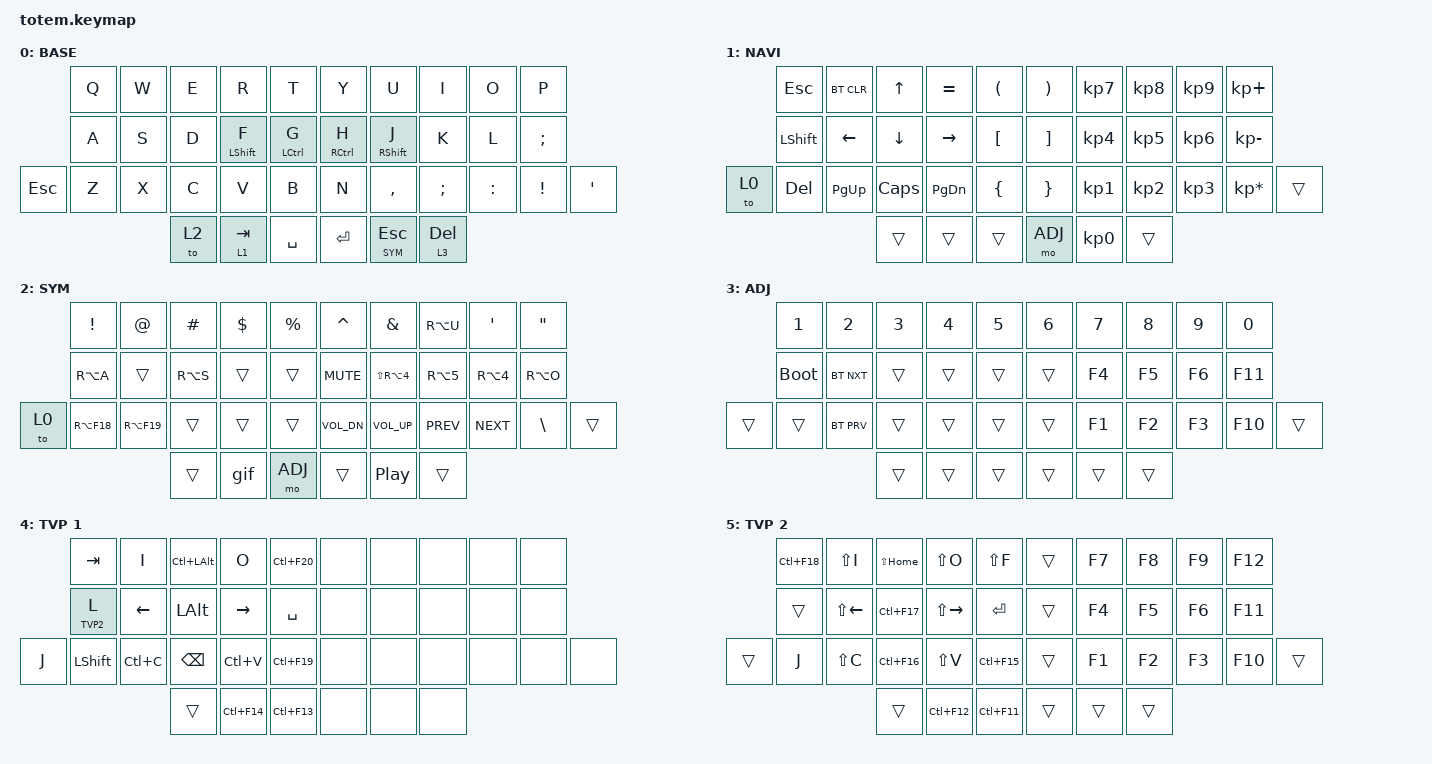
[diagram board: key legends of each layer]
//
//                                                        ▀▀▀▀▀     ▀▀▀▀▀          ▀▀█▀▀
//                                                        ▄▀▀▀▄  ▄  ▄▀▀▀▄  ▄  ▄▀▀▀▄  █  ▄▀▀▀▄
//                                                        █   █  █  █   █  █  █   █  █  █   █
//                                                         ▀▀▀   █   ▀▀▀   █   ▀▀▀   ▀   ▀▀▀
//                                                               █      ▄▄▄█▄▄▄    █   █  
//                                                               ▀      █  █  █     █▄█
//                                                             ▀▀▀▀▀    █  █  █      ▀
//                                                                      ▀  ▀  ▀
//
// ▄▄▄▄▄▄▄▄▄▄▄▄▄▄▄▄▄▄▄▄▄▄▄▄▄▄▄▄▄▄▄▄▄▄▄▄▄▄▄▄▄▄▄▄▄▄▄▄▄▄▄▄▄▄▄▄▄▄▄▄▄▄▄▄▄▄▄▄▄▄▄▄▄▄▄▄▄▄▄▄▄▄▄▄▄▄▄▄▄▄▄▄▄▄▄▄▄▄▄▄▄▄▄▄▄▄▄▄▄▄▄▄▄▄▄▄▄▄▄▄▄▄▄▄▄▄▄▄▄▄▄▄▄▄▄▄▄▄▄▄▄▄▄▄▄▄▄▄▄

#include <behaviors.dtsi>
#include <dt-bindings/zmk/bt.h>
#include <dt-bindings/zmk/keys.h>

#define BASE 0
#define NAV  1
#define SYM  2
#define ADJ  3
#define TVP1 4
#define TVP2 5

&mt {
    quick-tap-ms = <100>;
    global-quick-tap;
    flavor = "tap-preferred";
    tapping-term-ms = <200>;
};

/ {
    combos {
        compatible = "zmk,combos";

        combo_tvp {
            timeout-ms = <100>;
            key-positions = <11 12 13>;
            bindings = <&tog TVP1>;
        };

        Backspace {
            bindings = <&kp BACKSPACE>;
            key-positions = <16 17>;
            layers = <0 2 1 3 4 5>;
        };

        TabCombo {
            bindings = <&kp TAB>;
            key-positions = <10 11>;
        };

        BTClearAll {
            bindings = <&bt BT_CLR_ALL>;
            key-positions = <32 33 34>;
        };

        Copy {
            bindings = <&kp LC(C)>;
            key-positions = <22 23>;
        };

        Paste {
            bindings = <&kp LC(V)>;
            key-positions = <22 24>;
        };
    };

    macros {
        gif: gif {
            label = "giphy";
            compatible = "zmk,behavior-macro";
            #binding-cells = <0>;
            bindings =
                <&macro_press>,
                <&kp LSHFT>,
                <&macro_tap>,
                <&kp N2>,
                <&macro_release>,
                <&kp LSHFT>,
                <&macro_tap>,
                <&kp G &kp I &kp F>;
        };
    };

    keymap {
        compatible = "zmk,keymap";

        // ▄▄▄▄▄▄▄▄▄▄▄▄▄▄▄▄▄▄▄▄▄▄▄▄▄▄▄▄▄▄▄▄▄▄▄▄▄▄▄▄▄▄▄▄▄▄▄▄▄▄▄▄▄▄▄▄▄▄▄▄▄▄▄▄▄▄▄▄▄▄▄▄▄▄▄▄▄▄▄▄▄▄▄▄▄▄▄▄▄▄▄▄▄▄▄▄▄▄▄▄▄▄▄▄▄▄▄▄▄▄▄▄▄▄▄▄▄▄▄▄▄▄▄▄▄▄▄▄▄▄▄▄▄▄▄▄▄▄▄▄▄▄▄▄▄▄▄▄▄

        base_layer {
            // ┏━━━━━━━━━━━━━━━━━━━━━━━━━━━━━━━━━━━━━━━┓

            label = "BASE";

            // ┗━━━━━━━━━━━━━━━━━━━━━━━━━━━━━━━━━━━━━━━┛
            //             ┏━━━━━━━━━━━┳━━━━━━━━━━━┳━━━━━━━━━━━┳━━━━━━━━━━━┳━━━━━━━━━━━┓   ┏━━━━━━━━━━━┳━━━━━━━━━━━┳━━━━━━━━━━━┳━━━━━━━━━━━┳━━━━━━━━━━━┓
            //             ┃     Q     ┃     W     ┃     F     ┃     P     ┃     G     ┃   ┃     J     ┃     L     ┃     U     ┃     Y     ┃     ;     ┃
            //             ┣━━━━━━━━━━━╋━━━━━━━━━━━╋━━━━━━━━━━━╋━━━━━━━━━━━╋━━━━━━━━━━━┫   ┣━━━━━━━━━━━╋━━━━━━━━━━━╋━━━━━━━━━━━╋━━━━━━━━━━━╋━━━━━━━━━━━┫
            //             ┃     A     ┃     R     ┃     S     ┃     T     ┃     D     ┃   ┃     H     ┃     N     ┃     E     ┃     I     ┃     O     ┃
            // ┏━━━━━━━━━━━╋━━━━━━━━━━━╋━━━━━━━━━━━╋━━━━━━━━━━━╋━━━━━━━━━━━╋━━━━━━━━━━━┫   ┣━━━━━━━━━━━╋━━━━━━━━━━━╋━━━━━━━━━━━╋━━━━━━━━━━━╋━━━━━━━━━━━╋━━━━━━━━━━━┓
            // ┃     Q     ┃     Z     ┃     X     ┃     C     ┃     V     ┃     B     ┃   ┃     K     ┃     M     ┃     ,     ┃     .     ┃     /     ┃     \     ┃
            // ┗━━━━━━━━━━━┻━━━━━━━━━━━┻━━━━━━━━━━━╋━━━━━━━━━━━╋━━━━━━━━━━━╋━━━━━━━━━━━┫   ┣━━━━━━━━━━━╋━━━━━━━━━━━╋━━━━━━━━━━━╋━━━━━━━━━━━┻━━━━━━━━━━━┻━━━━━━━━━━━┛
            //                                     ┃    DEL    ┃    TAB    ┃    SPC    ┃   ┃   ENTER   ┃           ┃   BSPC    ┃
            //                                     ┗━━━━━━━━━━━┻━━━━━━━━━━━┻━━━━━━━━━━━┛   ┗━━━━━━━━━━━┻━━━━━━━━━━━┻━━━━━━━━━━━┛

            bindings = <
         &kp Q  &kp W  &kp E  &kp R             &kp T                 &kp Y                &kp U         &kp I          &kp O      &kp P
         &kp A  &kp S  &kp D  &mt LEFT_SHIFT F  &mt LEFT_CONTROL G    &mt RIGHT_CONTROL H  &mt RSHIFT J  &kp K          &kp L      &kp SEMI
&kp ESC  &kp Z  &kp X  &kp C  &kp V             &kp B                 &kp N                &kp COMMA     &kp SEMICOLON  &kp COLON  &kp EXCLAMATION  &kp SQT
                       &to 2  &lt 1 TAB         &kp SPACE             &kp RET              &lt SYM ESC   &lt 3 DELETE
            >;
        };

        // ▄▄▄▄▄▄▄▄▄▄▄▄▄▄▄▄▄▄▄▄▄▄▄▄▄▄▄▄▄▄▄▄▄▄▄▄▄▄▄▄▄▄▄▄▄▄▄▄▄▄▄▄▄▄▄▄▄▄▄▄▄▄▄▄▄▄▄▄▄▄▄▄▄▄▄▄▄▄▄▄▄▄▄▄▄▄▄▄▄▄▄▄▄▄▄▄▄▄▄▄▄▄▄▄▄▄▄▄▄▄▄▄▄▄▄▄▄▄▄▄▄▄▄▄▄▄▄▄▄▄▄▄▄▄▄▄▄▄▄▄▄▄▄▄▄▄▄▄▄

        nav_layer {
            // ┏━━━━━━━━━━━━━━━━━━━━━━━━━━━━━━━━━━━━━━━┓

            label = "NAVI";

            // ┗━━━━━━━━━━━━━━━━━━━━━━━━━━━━━━━━━━━━━━━┛
            //             ┏━━━━━━━━━━━┳━━━━━━━━━━━┳━━━━━━━━━━━┳━━━━━━━━━━━┳━━━━━━━━━━━┓   ┏━━━━━━━━━━━┳━━━━━━━━━━━┳━━━━━━━━━━━┳━━━━━━━━━━━┳━━━━━━━━━━━┓
            //             ┃           ┃           ┃     UP    ┃           ┃     {     ┃   ┃     }     ┃     7     ┃     8     ┃     9     ┃     +     ┃
            //             ┣━━━━━━━━━━━╋━━━━━━━━━━━╋━━━━━━━━━━━╋━━━━━━━━━━━╋━━━━━━━━━━━┫   ┣━━━━━━━━━━━╋━━━━━━━━━━━╋━━━━━━━━━━━╋━━━━━━━━━━━╋━━━━━━━━━━━┫
            //             ┃   SHIFT   ┃   LEFT    ┃    DOWN   ┃   RIGHT   ┃     [     ┃   ┃     ]     ┃     4     ┃     5     ┃     6     ┃     -     ┃
            // ┏━━━━━━━━━━━╋━━━━━━━━━━━╋━━━━━━━━━━━╋━━━━━━━━━━━╋━━━━━━━━━━━╋━━━━━━━━━━━┫   ┣━━━━━━━━━━━╋━━━━━━━━━━━╋━━━━━━━━━━━╋━━━━━━━━━━━╋━━━━━━━━━━━╋━━━━━━━━━━━┓
            // ┃           ┃           ┃   P UP    ┃  C LOCK   ┃  P DOWN   ┃     (     ┃   ┃     )     ┃     1     ┃     2     ┃     3     ┃     *     ┃           ┃
            // ┗━━━━━━━━━━━┻━━━━━━━━━━━┻━━━━━━━━━━━╋━━━━━━━━━━━╋━━━━━━━━━━━╋━━━━━━━━━━━┫   ┣━━━━━━━━━━━╋━━━━━━━━━━━╋━━━━━━━━━━━╋━━━━━━━━━━━┻━━━━━━━━━━━┻━━━━━━━━━━━┛
            //                                     ┃           ┃    TAB    ┃    SPC    ┃   ┃    DEL    ┃     0     ┃           ┃
            //                                     ┗━━━━━━━━━━━┻━━━━━━━━━━━┻━━━━━━━━━━━┛   ┗━━━━━━━━━━━┻━━━━━━━━━━━┻━━━━━━━━━━━┛

            bindings = <
       &kp ESC    &bt BT_CLR  &kp UP    &kp EQUAL  &kp LEFT_PARENTHESIS    &kp RIGHT_PARENTHESIS  &kp KP_N7  &kp KP_N8  &kp KP_N9  &kp KP_PLUS
       &kp LSHFT  &kp LEFT    &kp DOWN  &kp RIGHT  &kp LBKT                &kp RBKT               &kp KP_N4  &kp KP_N5  &kp KP_N6  &kp KP_MINUS
&to 0  &kp DEL    &kp PG_UP   &kp CAPS  &kp PG_DN  &kp LEFT_BRACE          &kp RIGHT_BRACE        &kp KP_N1  &kp KP_N2  &kp KP_N3  &kp KP_MULTIPLY  &trans
                              &trans    &trans     &trans                  &mo ADJ                &kp KP_N0  &trans
            >;
        };

        // ▄▄▄▄▄▄▄▄▄▄▄▄▄▄▄▄▄▄▄▄▄▄▄▄▄▄▄▄▄▄▄▄▄▄▄▄▄▄▄▄▄▄▄▄▄▄▄▄▄▄▄▄▄▄▄▄▄▄▄▄▄▄▄▄▄▄▄▄▄▄▄▄▄▄▄▄▄▄▄▄▄▄▄▄▄▄▄▄▄▄▄▄▄▄▄▄▄▄▄▄▄▄▄▄▄▄▄▄▄▄▄▄▄▄▄▄▄▄▄▄▄▄▄▄▄▄▄▄▄▄▄▄▄▄▄▄▄▄▄▄▄▄▄▄▄▄▄▄▄

        sim_layer {
            // ┏━━━━━━━━━━━━━━━━━━━━━━━━━━━━━━━━━━━━━━━┓

            label = "SYM";

            // ┗━━━━━━━━━━━━━━━━━━━━━━━━━━━━━━━━━━━━━━━┛
            //             ┏━━━━━━━━━━━┳━━━━━━━━━━━┳━━━━━━━━━━━┳━━━━━━━━━━━┳━━━━━━━━━━━┓   ┏━━━━━━━━━━━┳━━━━━━━━━━━┳━━━━━━━━━━━┳━━━━━━━━━━━┳━━━━━━━━━━━┓
            //             ┃     !     ┃     @     ┃     #     ┃     $     ┃     %     ┃   ┃     ˆ     ┃     &     ┃     Ü     ┃     '     ┃     "     ┃
            //             ┣━━━━━━━━━━━╋━━━━━━━━━━━╋━━━━━━━━━━━╋━━━━━━━━━━━╋━━━━━━━━━━━┫   ┣━━━━━━━━━━━╋━━━━━━━━━━━╋━━━━━━━━━━━╋━━━━━━━━━━━╋━━━━━━━━━━━┫
            //             ┃     Ä     ┃           ┃    SZ     ┃           ┃           ┃   ┃   MUTE    ┃   YEN     ┃   EURO    ┃  POUND    ┃     Ö     ┃
            // ┏━━━━━━━━━━━╋━━━━━━━━━━━╋━━━━━━━━━━━╋━━━━━━━━━━━╋━━━━━━━━━━━╋━━━━━━━━━━━┫   ┣━━━━━━━━━━━╋━━━━━━━━━━━╋━━━━━━━━━━━╋━━━━━━━━━━━╋━━━━━━━━━━━╋━━━━━━━━━━━┓
            // ┃           ┃  EMAIL1   ┃  EMAIL2   ┃           ┃           ┃           ┃   ┃   VOL-    ┃   VOL+    ┃   LAST    ┃   NEXT    ┃     \     ┃           ┃
            // ┗━━━━━━━━━━━┻━━━━━━━━━━━┻━━━━━━━━━━━╋━━━━━━━━━━━╋━━━━━━━━━━━╋━━━━━━━━━━━┫   ┣━━━━━━━━━━━╋━━━━━━━━━━━╋━━━━━━━━━━━╋━━━━━━━━━━━┻━━━━━━━━━━━┻━━━━━━━━━━━┛
            //                                     ┃           ┃    GIF    ┃    ADJ    ┃   ┃           ┃           ┃           ┃
            //                                     ┗━━━━━━━━━━━┻━━━━━━━━━━━┻━━━━━━━━━━━┛   ┗━━━━━━━━━━━┻━━━━━━━━━━━┻━━━━━━━━━━━┛

            bindings = <
       &kp EXCL     &kp AT       &kp HASH   &kp DLLR  &kp PRCNT    &kp CARET     &kp AMPS        &kp RA(U)   &kp SQT     &kp DQT
       &kp RA(A)    &trans       &kp RA(S)  &trans    &trans       &kp C_MUTE    &kp LS(RA(N4))  &kp RA(N5)  &kp RA(N4)  &kp RA(O)
&to 0  &kp RA(F18)  &kp RA(F19)  &trans     &trans    &trans       &kp C_VOL_DN  &kp C_VOL_UP    &kp C_PREV  &kp C_NEXT  &kp BSLH   &trans
                                 &trans     &gif      &mo ADJ      &trans        &kp C_PP        &trans
            >;
        };

        // ▄▄▄▄▄▄▄▄▄▄▄▄▄▄▄▄▄▄▄▄▄▄▄▄▄▄▄▄▄▄▄▄▄▄▄▄▄▄▄▄▄▄▄▄▄▄▄▄▄▄▄▄▄▄▄▄▄▄▄▄▄▄▄▄▄▄▄▄▄▄▄▄▄▄▄▄▄▄▄▄▄▄▄▄▄▄▄▄▄▄▄▄▄▄▄▄▄▄▄▄▄▄▄▄▄▄▄▄▄▄▄▄▄▄▄▄▄▄▄▄▄▄▄▄▄▄▄▄▄▄▄▄▄▄▄▄▄▄▄▄▄▄▄▄▄▄▄▄▄

        adjust_layer {
            // ┏━━━━━━━━━━━━━━━━━━━━━━━━━━━━━━━━━━━━━━━┓

            label = "ADJ";

            // ┗━━━━━━━━━━━━━━━━━━━━━━━━━━━━━━━━━━━━━━━┛
            //             ┏━━━━━━━━━━━┳━━━━━━━━━━━┳━━━━━━━━━━━┳━━━━━━━━━━━┳━━━━━━━━━━━┓   ┏━━━━━━━━━━━┳━━━━━━━━━━━┳━━━━━━━━━━━┳━━━━━━━━━━━┳━━━━━━━━━━━┓
            //             ┃   RESET   ┃ BT CLEAR  ┃  OUT TOG  ┃           ┃           ┃   ┃           ┃    F7     ┃    F8     ┃    F9     ┃    F12    ┃
            //             ┣━━━━━━━━━━━╋━━━━━━━━━━━╋━━━━━━━━━━━╋━━━━━━━━━━━╋━━━━━━━━━━━┫   ┣━━━━━━━━━━━╋━━━━━━━━━━━╋━━━━━━━━━━━╋━━━━━━━━━━━╋━━━━━━━━━━━┫
            //             ┃ BOOTLOAD  ┃ BT NEXT   ┃           ┃           ┃           ┃   ┃           ┃    F4     ┃    F5     ┃    F6     ┃    F11    ┃
            // ┏━━━━━━━━━━━╋━━━━━━━━━━━╋━━━━━━━━━━━╋━━━━━━━━━━━╋━━━━━━━━━━━╋━━━━━━━━━━━┫   ┣━━━━━━━━━━━╋━━━━━━━━━━━╋━━━━━━━━━━━╋━━━━━━━━━━━╋━━━━━━━━━━━╋━━━━━━━━━━━┓
            // ┃           ┃           ┃ BT PREV   ┃           ┃           ┃           ┃   ┃           ┃    F1     ┃    F2     ┃    F3     ┃    F10    ┃           ┃
            // ┗━━━━━━━━━━━┻━━━━━━━━━━━┻━━━━━━━━━━━╋━━━━━━━━━━━╋━━━━━━━━━━━╋━━━━━━━━━━━┫   ┣━━━━━━━━━━━╋━━━━━━━━━━━╋━━━━━━━━━━━╋━━━━━━━━━━━┻━━━━━━━━━━━┻━━━━━━━━━━━┛
            //                                     ┃           ┃           ┃           ┃   ┃           ┃           ┃           ┃
            //                                     ┗━━━━━━━━━━━┻━━━━━━━━━━━┻━━━━━━━━━━━┛   ┗━━━━━━━━━━━┻━━━━━━━━━━━┻━━━━━━━━━━━┛

            bindings = <
        &kp NUMBER_1  &kp NUMBER_2  &kp NUMBER_3  &kp NUMBER_4  &kp N5    &kp NUMBER_6  &kp N7  &kp N8  &kp N9  &kp N0
        &bootloader   &bt BT_NXT    &trans        &trans        &trans    &trans        &kp F4  &kp F5  &kp F6  &kp F11
&trans  &trans        &bt BT_PRV    &trans        &trans        &trans    &trans        &kp F1  &kp F2  &kp F3  &kp F10  &trans
                                    &trans        &trans        &trans    &trans        &trans  &trans
            >;
        };

        // ▄▄▄▄▄▄▄▄▄▄▄▄▄▄▄▄▄▄▄▄▄▄▄▄▄▄▄▄▄▄▄▄▄▄▄▄▄▄▄▄▄▄▄▄▄▄▄▄▄▄▄▄▄▄▄▄▄▄▄▄▄▄▄▄▄▄▄▄▄▄▄▄▄▄▄▄▄▄▄▄▄▄▄▄▄▄▄▄▄▄▄▄▄▄▄▄▄▄▄▄▄▄▄▄▄▄▄▄▄▄▄▄▄▄▄▄▄▄▄▄▄▄▄▄▄▄▄▄▄▄▄▄▄▄▄▄▄▄▄▄▄▄▄▄▄▄▄▄▄

        tvp1_layer {
            // ┏━━━━━━━━━━━━━━━━━━━━━━━━━━━━━━━━━━━━━━━┓

            label = "TVP 1";

            // ┗━━━━━━━━━━━━━━━━━━━━━━━━━━━━━━━━━━━━━━━┛
            //             ┏━━━━━━━━━━━┳━━━━━━━━━━━┳━━━━━━━━━━━┳━━━━━━━━━━━┳━━━━━━━━━━━┓   ┏━━━━━━━━━━━┳━━━━━━━━━━━┳━━━━━━━━━━━┳━━━━━━━━━━━┳━━━━━━━━━━━┓
            //             ┃ NEXT FILE ┃ MARK IN   ┃ ROTATE    ┃ MARK OUT  ┃ SHOW SNAP ┃   ┃           ┃           ┃           ┃           ┃           ┃
            //             ┣━━━━━━━━━━━╋━━━━━━━━━━━╋━━━━━━━━━━━╋━━━━━━━━━━━╋━━━━━━━━━━━┫   ┣━━━━━━━━━━━╋━━━━━━━━━━━╋━━━━━━━━━━━╋━━━━━━━━━━━╋━━━━━━━━━━━┫
            //             ┃ TVP II    ┃ LEFT      ┃ PAN       ┃ RIGHT     ┃ PLAY/FLIP ┃   ┃           ┃           ┃           ┃           ┃           ┃
            // ┏━━━━━━━━━━━╋━━━━━━━━━━━╋━━━━━━━━━━━╋━━━━━━━━━━━╋━━━━━━━━━━━╋━━━━━━━━━━━┫   ┣━━━━━━━━━━━╋━━━━━━━━━━━╋━━━━━━━━━━━╋━━━━━━━━━━━╋━━━━━━━━━━━╋━━━━━━━━━━━┓
            // ┃ FULLSCR   ┃ SHIFT     ┃ COPY      ┃ DELETE    ┃ PASTE     ┃ IMG MARK  ┃   ┃           ┃           ┃           ┃           ┃           ┃           ┃
            // ┗━━━━━━━━━━━┻━━━━━━━━━━━┻━━━━━━━━━━━╋━━━━━━━━━━━╋━━━━━━━━━━━╋━━━━━━━━━━━┫   ┣━━━━━━━━━━━╋━━━━━━━━━━━╋━━━━━━━━━━━╋━━━━━━━━━━━┻━━━━━━━━━━━┻━━━━━━━━━━━┛
            //                                     ┃           ┃ UNDO/SAVE ┃  SEL/MOV  ┃   ┃           ┃           ┃           ┃
            //                                     ┗━━━━━━━━━━━┻━━━━━━━━━━━┻━━━━━━━━━━━┛   ┗━━━━━━━━━━━┻━━━━━━━━━━━┻━━━━━━━━━━━┛

            bindings = <
       &kp TAB     &kp I      &kp LC(LALT)  &kp O        &kp LC(F20)    &none  &none  &none  &none  &none
       &lt TVP2 L  &kp LEFT   &kp LALT      &kp RIGHT    &kp SPACE      &none  &none  &none  &none  &none
&kp J  &kp LSHFT   &kp LC(C)  &kp BSPC      &kp LC(V)    &kp LC(F19)    &none  &none  &none  &none  &none  &none
                              &trans        &kp LC(F14)  &kp LC(F13)    &none  &none  &none
            >;
        };

        // ▄▄▄▄▄▄▄▄▄▄▄▄▄▄▄▄▄▄▄▄▄▄▄▄▄▄▄▄▄▄▄▄▄▄▄▄▄▄▄▄▄▄▄▄▄▄▄▄▄▄▄▄▄▄▄▄▄▄▄▄▄▄▄▄▄▄▄▄▄▄▄▄▄▄▄▄▄▄▄▄▄▄▄▄▄▄▄▄▄▄▄▄▄▄▄▄▄▄▄▄▄▄▄▄▄▄▄▄▄▄▄▄▄▄▄▄▄▄▄▄▄▄▄▄▄▄▄▄▄▄▄▄▄▄▄▄▄▄▄▄▄▄▄▄▄▄▄▄▄

        tvp2_layer {
            // ┏━━━━━━━━━━━━━━━━━━━━━━━━━━━━━━━━━━━━━━━┓

            label = "TVP 2";

            // ┗━━━━━━━━━━━━━━━━━━━━━━━━━━━━━━━━━━━━━━━┛
            //             ┏━━━━━━━━━━━┳━━━━━━━━━━━┳━━━━━━━━━━━┳━━━━━━━━━━━┳━━━━━━━━━━━┓   ┏━━━━━━━━━━━┳━━━━━━━━━━━┳━━━━━━━━━━━┳━━━━━━━━━━━┳━━━━━━━━━━━┓
            //             ┃ SOLO      ┃ TOGGLE IN ┃ RESET ROT ┃ TOGGLE OUT┃ TAKE SNAP ┃   ┃           ┃           ┃           ┃           ┃           ┃
            //             ┣━━━━━━━━━━━╋━━━━━━━━━━━╋━━━━━━━━━━━╋━━━━━━━━━━━╋━━━━━━━━━━━┫   ┣━━━━━━━━━━━╋━━━━━━━━━━━╋━━━━━━━━━━━╋━━━━━━━━━━━╋━━━━━━━━━━━┫
            //             ┃ ---       ┃ LAST KEY  ┃ NEW KEY   ┃ NEXT KEY  ┃ ENTER     ┃   ┃           ┃           ┃           ┃           ┃           ┃
            // ┏━━━━━━━━━━━╋━━━━━━━━━━━╋━━━━━━━━━━━╋━━━━━━━━━━━╋━━━━━━━━━━━╋━━━━━━━━━━━┫   ┣━━━━━━━━━━━╋━━━━━━━━━━━╋━━━━━━━━━━━╋━━━━━━━━━━━╋━━━━━━━━━━━╋━━━━━━━━━━━┓
            // ┃           ┃ FULLSCR   ┃ CPY2BRUSH ┃ DEL HEAD  ┃ PSTinPLACE┃ BOOK MARK ┃   ┃           ┃           ┃           ┃           ┃           ┃           ┃
            // ┗━━━━━━━━━━━┻━━━━━━━━━━━┻━━━━━━━━━━━╋━━━━━━━━━━━╋━━━━━━━━━━━╋━━━━━━━━━━━┫   ┣━━━━━━━━━━━╋━━━━━━━━━━━╋━━━━━━━━━━━╋━━━━━━━━━━━┻━━━━━━━━━━━┻━━━━━━━━━━━┛
            //                                     ┃           ┃ REDO/SAV1 ┃TRANS/WARP ┃   ┃           ┃           ┃           ┃
            //                                     ┗━━━━━━━━━━━┻━━━━━━━━━━━┻━━━━━━━━━━━┛   ┗━━━━━━━━━━━┻━━━━━━━━━━━┻━━━━━━━━━━━┛

            bindings = <
        &kp LC(F18)  &kp LS(I)     &kp LS(HOME)  &kp LS(O)      &kp LS(F)      &trans  &kp F7  &kp F8  &kp F9  &kp F12
        &trans       &kp LS(LEFT)  &kp LC(F17)   &kp LS(RIGHT)  &kp RET        &trans  &kp F4  &kp F5  &kp F6  &kp F11
&trans  &kp J        &kp LS(C)     &kp LC(F16)   &kp LS(V)      &kp LC(F15)    &trans  &kp F1  &kp F2  &kp F3  &kp F10  &trans
                                   &trans        &kp LC(F12)    &kp LC(F11)    &trans  &trans  &trans
            >;
        };
    };
};
